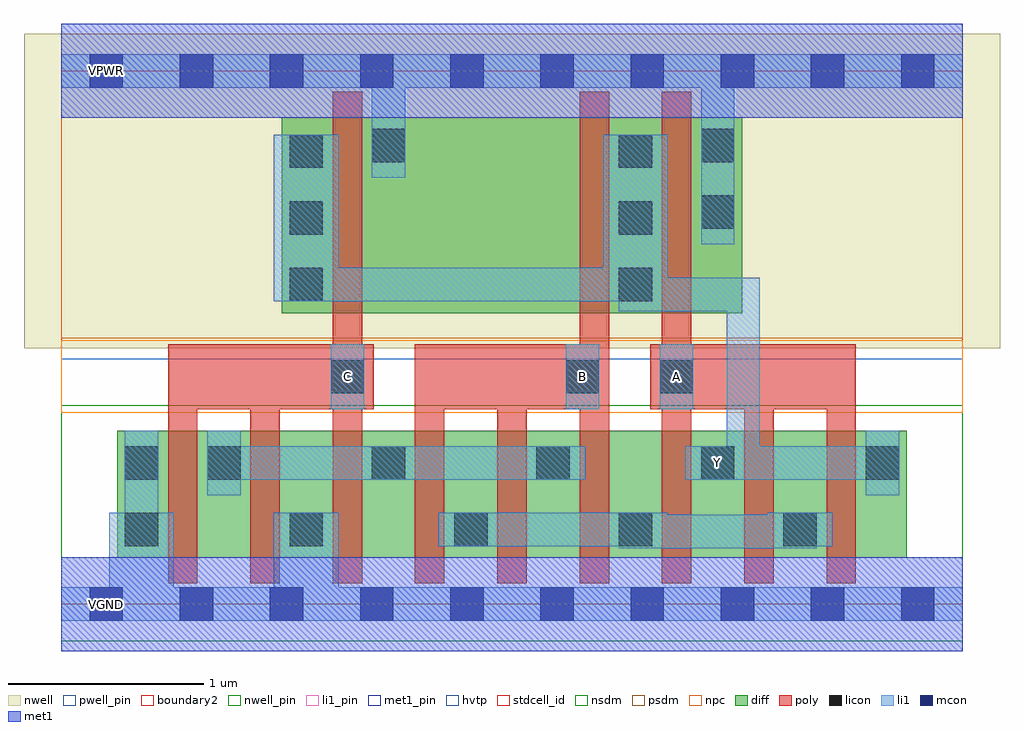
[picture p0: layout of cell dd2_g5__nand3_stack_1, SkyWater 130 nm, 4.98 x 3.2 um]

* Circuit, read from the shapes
.subckt dd2_g5__nand3_stack_1 A B C VGND VNB VPB VPWR Y
XM1 n1 C VGND VNB sky130_fd_pr__nfet_01v8 w=0.65 l=0.15 m=3
XM2 n2 B n1 VNB sky130_fd_pr__nfet_01v8 w=0.65 l=0.15 m=3
XM3 Y A n2 VNB sky130_fd_pr__nfet_01v8 w=0.65 l=0.15 m=3
XM4 VPWR C Y VPB sky130_fd_pr__pfet_01v8_hvt w=1 l=0.15
XM5 Y B VPWR VPB sky130_fd_pr__pfet_01v8_hvt w=1 l=0.15
XM6 VPWR A Y VPB sky130_fd_pr__pfet_01v8_hvt w=1 l=0.15
.ends

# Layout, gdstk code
import gdstk
lib = gdstk.Library(unit=1e-6, precision=1e-09)
def R(c, l, rs):  # rectangles x0, y0, x1, y1
    for r in rs: c.add(gdstk.rectangle(r[:2], r[2:], *l))
def A(c, l, x, y, w, h, nx, ny, dx, dy):  # array of equal rectangles
    R(c, l, [(x+i*dx, y+j*dy, x+i*dx+w, y+j*dy+h) for i in range(nx) for j in range(ny)])
nwell_pin = (64, 16)
nwell = (64, 20)
diff = (65, 20)
poly = (66, 20)
licon = (66, 44)
li1_pin = (67, 16)
li1 = (67, 20)
mcon = (67, 44)
met1_pin = (68, 16)
met1 = (68, 20)
hvtp = (78, 44)
stdcell_id = (81, 4)
nsdm = (93, 44)
psdm = (94, 20)
npc = (95, 20)
pwell_pin = (122, 16)
boundary2 = (236, 0)

dd2_g5__nand3_stack_1 = lib.new_cell('dd2_g5__nand3_stack_1')
R(dd2_g5__nand3_stack_1, nwell_pin, [(0.145,2.635,0.315,2.805)])
R(dd2_g5__nand3_stack_1, nwell, [(-0.19,1.305,4.79,2.91)])
A(dd2_g5__nand3_stack_1, diff, 0.62, 0.235, 0.84, 0.65, 7, 1, 0.42, 0)
A(dd2_g5__nand3_stack_1, diff, 1.46, 1.485, 0.84, 1, 3, 1, 0.42, 0)
R(dd2_g5__nand3_stack_1, diff, [(0.285,0.235,1.04,0.885), (3.56,0.235,4.315,0.885), (1.125,1.485,1.88,2.485), (2.72,1.485,3.475,2.485)])
A(dd2_g5__nand3_stack_1, poly, 0.545, 0.995, 0.99, 0.33, 3, 1, 1.26, 0)
R(dd2_g5__nand3_stack_1, poly, [(0.545,0.105,0.695,1.325), (0.965,0.105,1.115,1.325), (1.385,0.105,1.535,2.615), (1.805,0.105,1.955,1.325), (2.225,0.105,2.375,1.325), (2.645,0.105,2.795,2.615), (3.065,0.105,3.215,2.615), (3.485,0.105,3.635,1.325), (3.905,0.105,4.055,1.325), (1.325,0.995,1.595,1.325), (2.525,0.995,2.795,1.325), (3.005,0.995,3.275,1.325)])
A(dd2_g5__nand3_stack_1, licon, 0.325, 0.295, 0.17, 0.17, 5, 1, 0.84, 0)
A(dd2_g5__nand3_stack_1, licon, 0.745, 0.635, 0.17, 0.17, 5, 1, 0.84, 0)
A(dd2_g5__nand3_stack_1, licon, 1.165, 1.545, 0.17, 0.17, 1, 3, 0, 0.34)
A(dd2_g5__nand3_stack_1, licon, 2.845, 1.545, 0.17, 0.17, 1, 3, 0, 0.34)
R(dd2_g5__nand3_stack_1, licon, [(0.325,0.635,0.495,0.805), (1.375,1.075,1.545,1.245), (2.575,1.075,2.745,1.245), (3.055,1.075,3.225,1.245), (3.265,1.915,3.435,2.085), (1.585,2.255,1.755,2.425), (3.265,2.255,3.435,2.425)])
R(dd2_g5__nand3_stack_1, li1_pin, [(0.145,-0.085,0.315,0.085), (3.275,0.645,3.425,0.795), (1.385,1.085,1.535,1.235), (2.585,1.085,2.735,1.235), (3.065,1.085,3.215,1.235), (0.145,2.635,0.315,2.805)])
R(dd2_g5__nand3_stack_1, li1, [(0,-0.085,4.6,0.085), (0.245,0.085,0.575,0.465), (1.085,0.085,1.415,0.465), (2.845,0.285,3.855,0.295), (1.925,0.295,3.935,0.455), (1.925,0.455,3.095,0.465), (3.605,0.455,3.935,0.465), (0.325,0.465,0.495,0.885), (0.745,0.555,0.915,0.635), (4.105,0.555,4.275,0.635), (0.745,0.635,2.675,0.805), (3.185,0.635,4.275,0.805), (0.745,0.805,0.915,0.885), (3.395,0.805,3.565,1.495), (4.105,0.805,4.275,0.885), (1.375,0.995,1.545,1.325), (2.575,0.995,2.745,1.325), (3.055,0.995,3.225,1.325), (2.845,1.495,3.565,1.545), (1.085,1.545,3.565,1.665), (1.085,1.665,3.095,1.715), (1.085,1.715,1.415,2.395), (2.765,1.715,3.095,2.395), (3.265,1.835,3.435,2.635), (1.585,2.175,1.755,2.635), (0,2.635,4.6,2.805)])
A(dd2_g5__nand3_stack_1, mcon, 0.145, -0.085, 0.17, 0.17, 10, 2, 0.46, 2.72)
R(dd2_g5__nand3_stack_1, met1_pin, [(0.145,-0.085,0.315,0.085), (0.145,2.635,0.315,2.805)])
R(dd2_g5__nand3_stack_1, met1, [(0,-0.24,4.6,0.24), (0,2.48,4.6,2.96)])
R(dd2_g5__nand3_stack_1, hvtp, [(0,1.25,4.6,2.72)])
R(dd2_g5__nand3_stack_1, stdcell_id, [(0,0,4.6,2.72)])
R(dd2_g5__nand3_stack_1, nsdm, [(0,-0.19,4.6,1.015)])
R(dd2_g5__nand3_stack_1, psdm, [(0,1.355,4.6,2.91)])
R(dd2_g5__nand3_stack_1, npc, [(0,0.975,4.6,1.345)])
R(dd2_g5__nand3_stack_1, pwell_pin, [(0.145,-0.085,0.315,0.085)])
R(dd2_g5__nand3_stack_1, boundary2, [(0,0,4.6,2.72)])
dd2_g5__nand3_stack_1.add(gdstk.Label('VPWR', (0.23,2.72), layer=68, texttype=5))
dd2_g5__nand3_stack_1.add(gdstk.Label('VGND', (0.23,0), layer=68, texttype=5))
dd2_g5__nand3_stack_1.add(gdstk.Label('VPWR', (0.23,2.72), layer=67, texttype=5))
dd2_g5__nand3_stack_1.add(gdstk.Label('VGND', (0.23,0), layer=67, texttype=5))
dd2_g5__nand3_stack_1.add(gdstk.Label('A', (3.14,1.16), layer=67, texttype=5))
dd2_g5__nand3_stack_1.add(gdstk.Label('B', (2.66,1.16), layer=67, texttype=5))
dd2_g5__nand3_stack_1.add(gdstk.Label('C', (1.46,1.16), layer=67, texttype=5))
dd2_g5__nand3_stack_1.add(gdstk.Label('Y', (3.35,0.72), layer=67, texttype=5))
dd2_g5__nand3_stack_1.add(gdstk.Label('VPB', (0.23,2.72), layer=64, texttype=5))
dd2_g5__nand3_stack_1.add(gdstk.Label('VNB', (0.23,0), layer=64, texttype=59))

lib.write_gds('dd2_g5__nand3_stack_1.gds')
